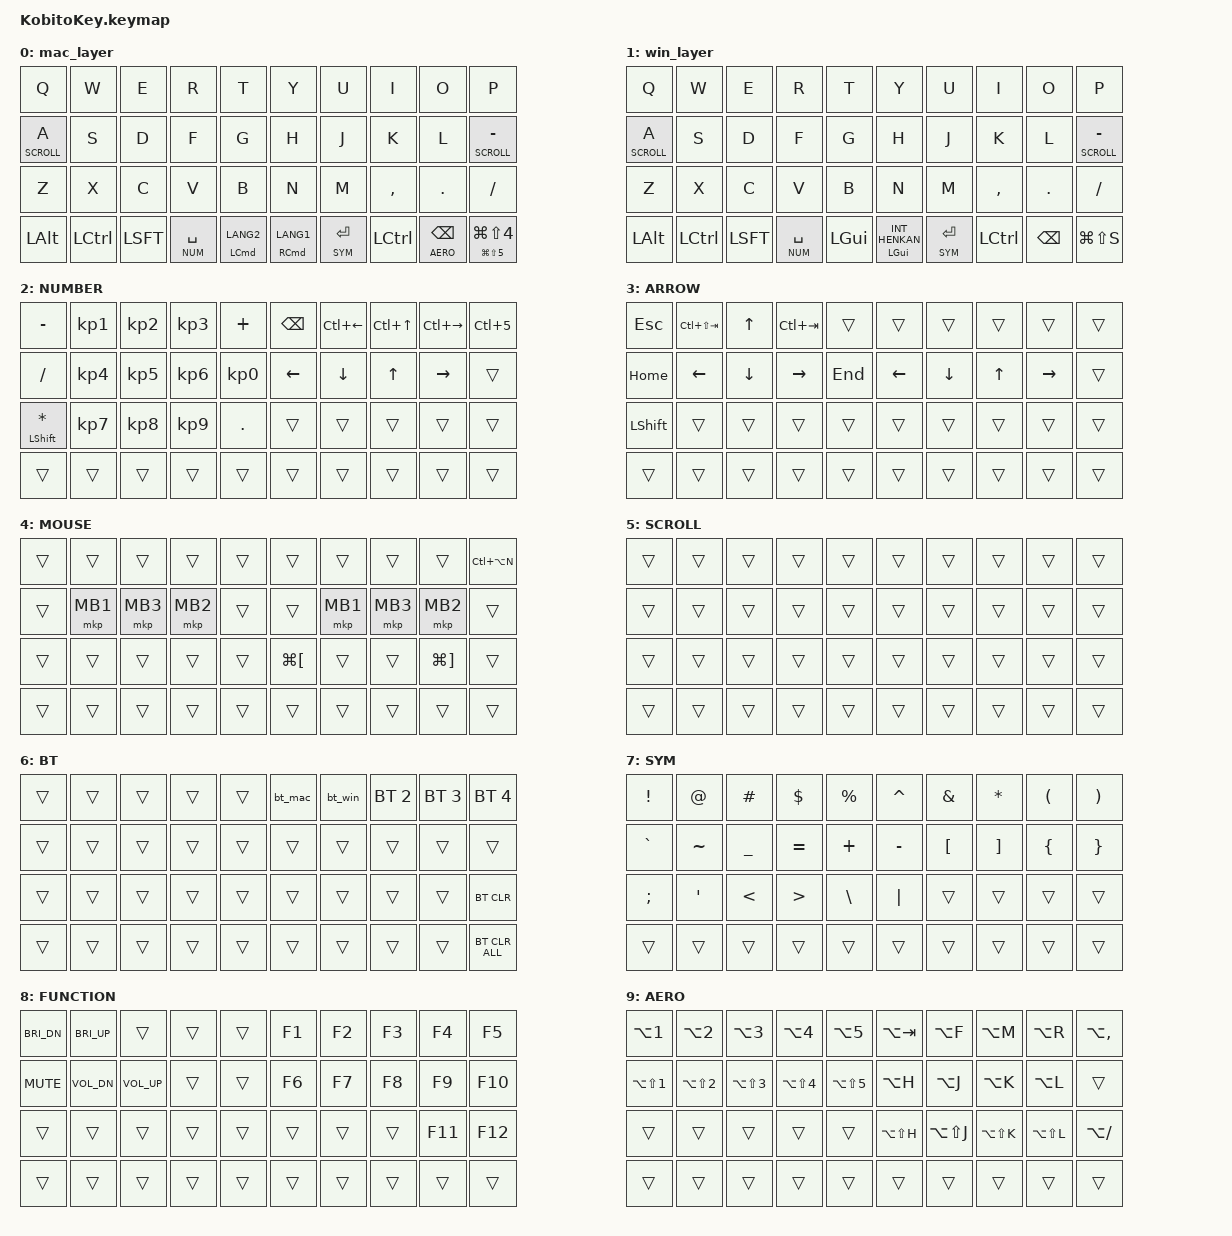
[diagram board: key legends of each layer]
#include <input/processors.dtsi>
#include <behaviors.dtsi>
#include <dt-bindings/zmk/bt.h>
#include <dt-bindings/zmk/keys.h>
#include <dt-bindings/zmk/pointing.h>

#define MAC      0
#define WIN      1
#define NUM      2
#define ARROW    3
#define MOUSE    4
#define SCROLL   5
#define BT       6
#define SYM      7
#define FUNC     8
#define AERO     9

&mt {
    flavor = "balanced";
    quick-tap-ms = <0>;
};

/ {
    behaviors {
        // tap: Cmd+Shift+4 (範囲スクショ) / hold: Cmd+Shift+5 (スクショメニュー)
        ss_ht: ss_ht {
            compatible = "zmk,behavior-hold-tap";
            label = "SS_HT";
            bindings = <&kp>, <&kp>;
            #binding-cells = <2>;
            tapping-term-ms = <200>;
            flavor = "balanced";
        };

        // 文字キー上のレイヤーホールド (tap-preferred で文字入力優先)
        scroll_lt: scroll_lt {
            compatible = "zmk,behavior-hold-tap";
            label = "SCROLL_LT";
            bindings = <&mo>, <&kp>;
            #binding-cells = <2>;
            tapping-term-ms = <250>;
            quick-tap-ms = <150>;
            flavor = "tap-preferred";
        };
    };

    macros {
        bt_mac: bt_mac {
            compatible = "zmk,behavior-macro";
            #binding-cells = <0>;
            bindings = <&bt BT_SEL 0 &to MAC>;
            label = "BT_MAC";
        };

        bt_win: bt_win {
            compatible = "zmk,behavior-macro";
            #binding-cells = <0>;
            bindings = <&bt BT_SEL 1 &to WIN>;
            label = "BT_WIN";
        };
    };

    combos {
        compatible = "zmk,combos";

        // ESC: Q + W
        combo_esc {
            timeout-ms = <50>;
            key-positions = <0 1>;
            bindings = <&kp ESC>;
        };

        // TAB: A + S
        combo_tab {
            timeout-ms = <50>;
            key-positions = <10 11>;
            bindings = <&kp TAB>;
        };

        // 英数: D + F
        combo_eisu {
            timeout-ms = <50>;
            key-positions = <12 13>;
            bindings = <&kp LANG2>;
        };

        // かな: J + K
        combo_kana {
            timeout-ms = <50>;
            key-positions = <16 17>;
            bindings = <&kp LANG1>;
        };

        // ": L + -
        combo_dquote {
            timeout-ms = <50>;
            key-positions = <18 19>;
            bindings = <&kp DOUBLE_QUOTES>;
        };

        // =: C + V
        combo_eq {
            timeout-ms = <50>;
            key-positions = <22 23>;
            bindings = <&kp EQUAL>;
        };

        // 前タブ: U + I (Ctrl+Shift+Tab)
        combo_tab_prev {
            timeout-ms = <50>;
            key-positions = <6 7>;
            bindings = <&kp LC(LS(TAB))>;
        };

        // 次タブ: I + O (Ctrl+Tab)
        combo_tab_next {
            timeout-ms = <50>;
            key-positions = <7 8>;
            bindings = <&kp LC(TAB)>;
        };

        // 戻る: M + , (Cmd+[)
        combo_back {
            timeout-ms = <50>;
            key-positions = <26 27>;
            bindings = <&kp LG(LBKT)>;
        };

        // 進む: , + . (Cmd+])
        combo_forward {
            timeout-ms = <50>;
            key-positions = <27 28>;
            bindings = <&kp LG(RBKT)>;
        };

        // BTレイヤー: 左親指 Ctrl + Shift
        combo_bt {
            timeout-ms = <50>;
            key-positions = <31 32>;
            bindings = <&mo BT>;
        };
    };

    conditional_layers {
        compatible = "zmk,conditional-layers";

        // Space(NUM) + Enter(SYM) 同時押しで FUNC（Enter は右親指 内側）
        tri_layer {
            if-layers = <NUM SYM>;
            then-layer = <FUNC>;
        };
    };

    keymap {
        compatible = "zmk,keymap";

        // Layer 0: Mac
        // 左: Alt Ctrl Shift Space/NUM Cmd(tap=英数)
        // 右内側から: Cmd tapかな / Enter/SYM / Ctrl / BSPC/AERO / SS
        // Tab は combo A+S。IME は左Cmd tap=英数、右Cmd tap=かな。combo D+F=英数 / J+K=かな も可
        // A と - は SCROLL（tap-preferred）
        mac_layer {
            bindings = <
&kp Q     &kp W     &kp E      &kp R          &kp T               &kp Y     &kp U           &kp I      &kp O    &kp P
&scroll_lt SCROLL A  &kp S     &kp D      &kp F          &kp G               &kp H     &kp J           &kp K      &kp L     &scroll_lt SCROLL MINUS
&kp Z     &kp X     &kp C      &kp V          &kp B               &kp N     &kp M           &kp COMMA  &kp DOT  &kp SLASH
&kp LALT  &kp LCTRL  &kp LSFT  &lt NUM SPACE  &mt LCMD LANG2  &mt RCMD LANG1  &lt SYM ENTER  &kp LCTRL  &lt AERO BACKSPACE  &ss_ht LG(LS(N5)) LG(LS(N4))
            >;
        };

        // Layer 1: Windows (MACと同じ役割分担 / Cmd相当=LGUI、IMEは変換キー)
        win_layer {
            bindings = <
&kp Q     &kp W     &kp E      &kp R          &kp T                           &kp Y     &kp U           &kp I      &kp O    &kp P
&scroll_lt SCROLL A  &kp S     &kp D      &kp F          &kp G                           &kp H     &kp J           &kp K      &kp L     &scroll_lt SCROLL MINUS
&kp Z     &kp X     &kp C      &kp V          &kp B                           &kp N     &kp M           &kp COMMA  &kp DOT  &kp SLASH
&kp LALT  &kp LCTRL  &kp LSFT  &lt NUM SPACE  &kp LGUI  &mt LGUI INT_HENKAN  &lt SYM ENTER  &kp LCTRL  &kp BACKSPACE  &kp LG(LS(S))
            >;
        };

        // Layer 2: NUM (SPACE 長押し)
        // 左手=電卓 / Y=BSPC / UIO=仮想デスクトップ / HJKL=robaと同じ vim 矢印
        num_layer {
            label = "NUMBER";
            bindings = <
&kp MINUS                &kp KP_NUMBER_1  &kp KP_NUMBER_2  &kp KP_NUMBER_3  &kp PLUS     &kp BACKSPACE  &kp LC(LEFT)  &kp LC(UP)  &kp LC(RIGHT)  &kp LC(N5)
&kp SLASH                &kp KP_NUMBER_4  &kp KP_NUMBER_5  &kp KP_NUMBER_6  &kp KP_NUMBER_0  &kp LEFT_ARROW  &kp DOWN_ARROW  &kp UP_ARROW  &kp RIGHT_ARROW  &trans
&mt LEFT_SHIFT ASTERISK  &kp KP_NUMBER_7  &kp KP_NUMBER_8  &kp KP_NUMBER_9  &kp PERIOD   &trans  &trans  &trans  &trans         &trans
&trans                   &trans           &trans           &trans           &trans       &trans      &trans        &trans      &trans         &trans
            >;
        };

        // Layer 3: ARROW（roba と同じキー。常用は NUM の HJKL）
        // 左手 E/S/D/F = 逆T字、右手 H/J/K/L = vim 風
        arrow_layer {
            label = "ARROW";
            bindings = <
&kp ESCAPE  &kp LC(LS(TAB))  &kp UP_ARROW    &kp LC(TAB)      &trans  &trans  &trans          &trans        &trans        &trans
&kp HOME    &kp LEFT_ARROW   &kp DOWN_ARROW  &kp RIGHT_ARROW  &kp END  &kp LEFT_ARROW  &kp DOWN_ARROW  &kp UP_ARROW  &kp RIGHT_ARROW  &trans
&kp LEFT_SHIFT  &trans       &trans          &trans           &trans  &trans  &trans          &trans        &trans        &trans
&trans      &trans           &trans          &trans           &trans  &trans  &trans          &trans        &trans        &trans
            >;
        };

        // Layer 4: MOUSE (ボール動作で自動進入、5秒滞留 / roba と同じ)
        // 左手 S/D/F = MB1/MB3/MB2、右手 J/K/L = MB1/MB3/MB2
        // N = 戻る / . = 進む / P = 次ディスプレイ
        // A と - は SCROLL（MOUSE 滞留中も効かせる）
        mouse_layer {
            label = "MOUSE";
            bindings = <
&trans  &trans    &trans    &trans    &trans  &trans         &trans    &trans    &trans         &kp LC(LA(N))
&trans  &mkp MB1  &mkp MB3  &mkp MB2  &trans  &trans         &mkp MB1  &mkp MB3  &mkp MB2       &trans
&trans  &trans    &trans    &trans    &trans  &kp LG(LBKT)   &trans    &trans    &kp LG(RBKT)   &trans
&trans  &trans    &trans    &trans    &trans  &trans         &trans    &trans    &trans         &trans
            >;
        };

        // Layer 5: SCROLL (A or - 長押し中、両手ボールがスクロール)
        scroll_layer {
            label = "SCROLL";
            bindings = <
&trans  &trans  &trans  &trans  &trans  &trans  &trans  &trans  &trans  &trans
&trans  &trans  &trans  &trans  &trans  &trans  &trans  &trans  &trans  &trans
&trans  &trans  &trans  &trans  &trans  &trans  &trans  &trans  &trans  &trans
&trans  &trans  &trans  &trans  &trans  &trans  &trans  &trans  &trans  &trans
            >;
        };

        // Layer 6: BT設定 + Mac/Windows切替 (左親指 LCTRL+LSFT コンボ)
        bt_layer {
            label = "BT";
            bindings = <
&trans  &trans  &trans  &trans  &trans  &bt_mac  &bt_win  &bt BT_SEL 2  &bt BT_SEL 3  &bt BT_SEL 4
&trans  &trans  &trans  &trans  &trans  &trans   &trans   &trans        &trans        &trans
&trans  &trans  &trans  &trans  &trans  &trans   &trans   &trans        &trans        &bt BT_CLR
&trans  &trans  &trans  &trans  &trans  &trans   &trans   &trans        &trans        &bt BT_CLR_ALL
            >;
        };

        // Layer 7: SYM (ENTER 長押し / US Shift 準拠)
        // 内列が無いので ; ' を左下段へ
        sym_layer {
            label = "SYM";
            bindings = <
&kp EXCL   &kp AT     &kp HASH   &kp DLLR   &kp PRCNT  &kp CARET  &kp AMPS  &kp ASTRK  &kp LPAR  &kp RPAR
&kp GRAVE  &kp TILDE  &kp UNDER  &kp EQUAL  &kp PLUS   &kp MINUS  &kp LBKT  &kp RBKT   &kp LBRC  &kp RBRC
&kp SEMI   &kp SQT    &kp LT     &kp GT     &kp BSLH   &kp PIPE   &trans    &trans     &trans    &trans
&trans     &trans     &trans     &trans     &trans     &trans     &trans    &trans     &trans    &trans
            >;
        };

        // Layer 8: FUNCTION (NUM+SYM 同時 = Space + Enter)
        func_layer {
            label = "FUNCTION";
            bindings = <
&kp C_BRI_DN  &kp C_BRI_UP  &trans       &trans  &trans  &kp F1  &kp F2  &kp F3  &kp F4  &kp F5
&kp C_MUTE    &kp C_VOL_DN  &kp C_VOL_UP  &trans  &trans  &kp F6  &kp F7  &kp F8  &kp F9  &kp F10
&trans        &trans        &trans        &trans  &trans  &trans  &trans  &trans  &kp F11 &kp F12
&trans        &trans        &trans        &trans  &trans  &trans  &trans  &trans  &trans  &trans
            >;
        };

        // Layer 9: AeroSpace (BACKSPACE 長押し)
        // 左上段=WS1-5 / 左ホーム=WSへ移動 / 右ホーム=フォーカス / 右下段=ウィンドウ移動
        aero_layer {
            label = "AERO";
            bindings = <
&kp LA(N1)      &kp LA(N2)      &kp LA(N3)      &kp LA(N4)      &kp LA(N5)  &kp LA(TAB)    &kp LA(F)      &kp LA(M)      &kp LA(R)      &kp LA(COMMA)
&kp LA(LS(N1))  &kp LA(LS(N2))  &kp LA(LS(N3))  &kp LA(LS(N4))  &kp LA(LS(N5))  &kp LA(H)  &kp LA(J)      &kp LA(K)      &kp LA(L)      &trans
&trans          &trans          &trans          &trans          &trans      &kp LA(LS(H))  &kp LA(LS(J))  &kp LA(LS(K))  &kp LA(LS(L))  &kp LA(SLASH)
&trans          &trans          &trans          &trans          &trans      &trans         &trans         &trans         &trans         &trans
            >;
        };
    };
};
